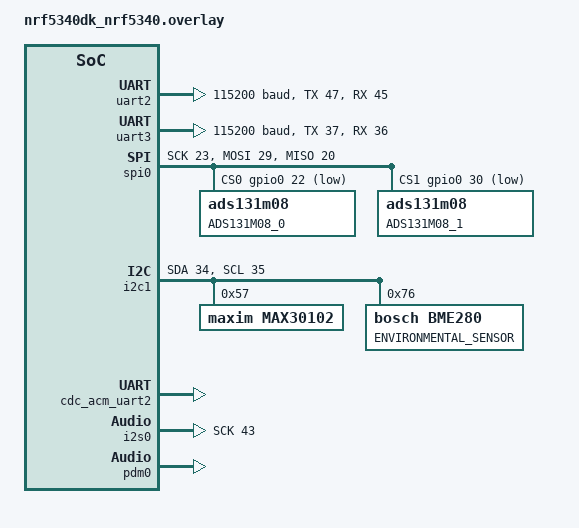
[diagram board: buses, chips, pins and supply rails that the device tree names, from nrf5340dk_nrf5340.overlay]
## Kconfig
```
# SPDX-License-Identifier: Proprietary

mainmenu "Application"

    config NUM_TLCS
        int "Number of chained TLC drivers"
        default 1
        range 1 8

    config UART_RX_TX_BUF_SZ
        int "The size of RP2040 UART RX buffer"
        default 32
        range 1 256

    config UART_RX_TOUT_US
        int "UART RX timeout in milliseconds"
        default 100000

    config USE_ADS131M08
        bool "Include the ADS131M08 sensors in compilation"
        default n

    config USE_BME280
        bool "Include the BME280 sensor in compilation"
        default n
        select USE_USB      

    config USE_MAX30102
        bool "Include the MAX30102 sensor in compilation"
        default n
        select USE_USB

    config USE_MPU6050
        bool "Include the MPU6050 sensor in compilation"
        default n
        select USE_USB 

    config USE_QMC5883L
        bool "Include the QMC5883L sensor in compilation"
        default n  
        select USE_USB

    config USE_TLC5940
        bool "Include the TLC5940 sensor in compilation"
        default n

    config USE_DMIC
        bool "Include the Digital Microphone in compilation"
        default n  

    config USE_I2S
        bool "Include the I2S driver for controlling MAX98357A Class D audio amplifier"
        default n          

    config USE_USB
        bool "Include the USB driver for sending sensor samples over USB"
        default n 

    config USE_RP2040
        bool "Include the UART driver for communication with RP2040"
        default n    

source "Kconfig.zephyr"
```

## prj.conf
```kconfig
CONFIG_INIT_STACKS=y
CONFIG_THREAD_STACK_INFO=y
CONFIG_MAIN_STACK_SIZE=2048
CONFIG_SYSTEM_WORKQUEUE_STACK_SIZE=4096
CONFIG_BT_RX_STACK_SIZE=4096

CONFIG_GPIO=y
CONFIG_SPI=y

# Debug config
CONFIG_LOG=y
CONFIG_LOG_DEFAULT_LEVEL=3
# RTT Viewer
CONFIG_USE_SEGGER_RTT=y
CONFIG_LOG_BACKEND_RTT=y
CONFIG_RTT_CONSOLE=y
CONFIG_SEGGER_RTT_BUFFER_SIZE_UP=4096
#CONFIG_LOG_BACKEND_RTT_MODE_DROP=y
CONFIG_LOG_PRINTK=y

# BLE
CONFIG_BT=y
#CONFIG_BT_DEBUG_LOG=y
CONFIG_BT_PERIPHERAL=y
CONFIG_BT_CENTRAL=y
CONFIG_BT_DEVICE_NAME="BC840M"
CONFIG_BT_GATT_CLIENT=y
CONFIG_BT_HCI_ACL_FLOW_CONTROL=y
CONFIG_BT_USER_PHY_UPDATE=y
CONFIG_BT_CTLR_PHY_2M=y
CONFIG_BT_CTLR_PHY_CODED=n
CONFIG_BT_ATT_PREPARE_COUNT=10
CONFIG_BT_CONN_TX_MAX=10
CONFIG_BT_L2CAP_TX_BUF_COUNT=10
CONFIG_BT_BUF_ACL_TX_SIZE=250
CONFIG_BT_BUF_ACL_RX_SIZE=250
CONFIG_BT_L2CAP_TX_MTU=250

# C++
CONFIG_CPLUSPLUS=y
CONFIG_LIB_CPLUSPLUS=y
CONFIG_NEWLIB_LIBC=y
#if  printf should be able to print float
CONFIG_NEWLIB_LIBC_FLOAT_PRINTF=y

#MAX30102
CONFIG_I2C=y

#BME280
CONFIG_SENSOR=y
CONFIG_BME280=y

#I2S AudioModule
CONFIG_I2S=y

# Digital Microphone (DMIC) Module
CONFIG_AUDIO=y
CONFIG_AUDIO_DMIC=y

# For FFT implementation
CONFIG_CMSIS_DSP=y
CONFIG_CMSIS_DSP_TRANSFORM=y
CONFIG_CMSIS_DSP_COMPLEXMATH=y
CONFIG_NEWLIB_LIBC=y
CONFIG_FPU=y

#USB transfer
# CONFIG_USB_DEVICE_STACK=y
# CONFIG_USB_DEVICE_PRODUCT="Zephyr CDC ACM sample"
# CONFIG_USB_DRIVER_LOG_LEVEL_ERR=y
# CONFIG_USB_DEVICE_LOG_LEVEL_ERR=y
CONFIG_SERIAL=y
# CONFIG_UART_CONSOLE=y
CONFIG_CONSOLE=n
CONFIG_UART_LINE_CTRL=y
CONFIG_UART_ASYNC_API=y
#CONFIG_UART_INTERRUPT_DRIVEN=y

CONFIG_HEAP_MEM_POOL_SIZE=2048

#Enable/Include Sensors. The sensor should be included with setting
# CONFIG_USE_SENSOR_NAME flag to y. For example: CONFIG_USE_BME280=y
# See Kconfig file for the full list of supported sensors
CONFIG_USE_RP2040=y
CONFIG_USE_BME280=n
CONFIG_USE_MPU6050=n
CONFIG_USE_QMC5883L=n

# Needed for FOTA
########################################################
# Enable mcumgr.
CONFIG_MCUMGR=y

# Ensure an MCUboot-compatible binary is generated.
CONFIG_BOOTLOADER_MCUBOOT=y
#CONFIG_NCS_SAMPLE_MCUMGR_BT_OTA_DFU=y

# Enable most core commands.
CONFIG_MCUMGR_CMD_IMG_MGMT=y
CONFIG_MCUMGR_CMD_OS_MGMT=y

# MCUboot log level
CONFIG_MCUBOOT_UTIL_LOG_LEVEL_WRN=y

# Allow for large Bluetooth data packets.
CONFIG_BT_L2CAP_TX_MTU=252
CONFIG_BT_BUF_ACL_RX_SIZE=256

# Enable the Bluetooth (unauthenticated) and shell mcumgr transports.
CONFIG_MCUMGR_SMP_BT=y
CONFIG_MCUMGR_SMP_BT_AUTHEN=n
CONFIG_MCUMGR_SMP_BT_CONN_PARAM_CONTROL=y
########################################################
```

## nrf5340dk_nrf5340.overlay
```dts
// To get started, press Ctrl+Space to bring up the completion menu and view the available nodes.
// For more help, browse the DeviceTree documentation at https: //docs.zephyrproject.org/latest/guides/dts/index.html

/ {

    aliases {
        tlc = &tlc5940;
    };

    tlc5940: tlc5940_node {
        // compatible = "gpio-leds";
        tlc-gpios = <&gpio1 0 GPIO_ACTIVE_HIGH>, /* output pin, GSCLK */
                    <&gpio1 1 GPIO_ACTIVE_HIGH>, /* output pin, XLAT */
                    <&gpio1 4 GPIO_ACTIVE_HIGH>, /* output pin, BLANK */
                    <&gpio1 5 GPIO_ACTIVE_HIGH>, /* output pin, SIN */
                    <&gpio1 6 GPIO_ACTIVE_HIGH>; /* output pin, SCLK */
        status = "okay";
    };
};

&uart0 {
    status = "disabled";
};

&uart1 {
    status = "disabled";
};

&uart2 {
    status = "okay";
    current-speed = <115200>;
    tx-pin = <47>;
    rx-pin = <45>;
    rts-pin = <0xFFFFFFFF>;
    cts-pin = <0xFFFFFFFF>;
};

&uart3 {
    status = "okay";
    compatible = "nordic,nrf-uarte";
    current-speed = <115200>;
    tx-pin = <37>;
    rx-pin = <36>;
    rts-pin = <0xFFFFFFFF>;
    cts-pin = <0xFFFFFFFF>;
};

&spi0 {
    compatible = "nordic,nrf-spim";
    status = "okay";
    sck-pin = <23>;
    mosi-pin = <29>; //DIN
    miso-pin = <20>; //DOUT
    cs-gpios = <&gpio0 22 GPIO_ACTIVE_LOW>, <&gpio0 30 GPIO_ACTIVE_LOW>;

    ads131m08_0: ads131m08@0 {
        status = "okay";
        reg = <0>;
        label = "ADS131M08_0";
    };

    ads131m08_1: ads131m08@1 {
        status = "okay";
        reg = <1>;
        label = "ADS131M08_1";
    };
};

&spi1 {
    status = "disabled";
};

&spi2 {
    status = "disabled";
};

&i2c0 {
    status = "disabled";
};

&i2c1 {
    status = "okay";
    sda-pin = <34>;
    scl-pin = <35>;
    max30102@57 {
        compatible = "maxim,max30102";
        label = "MAX30102";
        reg = <0x57>;
        mode = <2>;
        status = "okay";
    };
    bme280: bme280@76 {
        /* 0x76 - SDO <-> GND */
        /* 0x77 - SDO <-> VCC */
        compatible = "bosch,bme280";
        reg = <0x76>;
        label = "ENVIRONMENTAL_SENSOR";
    };
};

&zephyr_udc0 {
    cdc_acm_uart2 {
        compatible = "zephyr,cdc-acm-uart";
        label = "CDC_ACM_0";
    };
};

&clock {
    hfclkaudio-frequency = <11289600>;
};

i2s_rxtx: &i2s0 {
    status = "okay";
    sck-pin = <43>;
    lrck-pin = <44>;
    sdout-pin = <42>;
    sdin-pin = <46>;
    clock-source = "ACLK";
};

dmic_dev: &pdm0 {
    status = "okay";
    clk-pin = <25>;
    din-pin = <26>;
    clock-source = "ACLK";
};
```

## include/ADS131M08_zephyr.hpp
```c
#pragma once

#include <zephyr/types.h>
#include <device.h>
#include <drivers/gpio.h>
#include <drivers/spi.h>
#include <sys/util.h>
#include <atomic>

#define ADS131_ID 0x00
#define ADS131_STATUS 0x01
#define ADS131_MODE 0x02
#define ADS131_CLOCK 0x03
#define ADS131_GAIN1 0x04
#define ADS131_GAIN2 0x05
#define ADS131_CFG 0x06
#define ADS131_THRSHLD_MSB 0x07
#define ADS131_THRSHLD_LSB 0x08

#define ADS131_CH0_CFG 0x09
#define ADS131_CH0_OCAL_MSB 0x0A
#define ADS131_CH0_OCAL_LSB 0x0B
#define ADS131_CH0_GCAL_MSB 0x0C
#define ADS131_CH0_GCAL_LSB 0x0D
#define ADS131_CH1_CFG 0x0E
#define ADS131_CH1_OCAL_MSB 0x0F
#define ADS131_CH1_OCAL_LSB 0x10
#define ADS131_CH1_GCAL_MSB 0x11
#define ADS131_CH1_GCAL_LSB 0x12
#define ADS131_CH2_CFG 0x13
#define ADS131_CH2_OCAL_MSB 0x14
#define ADS131_CH2_OCAL_LSB 0x15
#define ADS131_CH2_GCAL_MSB 0x16
#define ADS131_CH2_GCAL_LSB 0x17
#define ADS131_CH3_CFG 0x18
#define ADS131_CH3_OCAL_MSB 0x19
#define ADS131_CH3_OCAL_LSB 0x1A
#define ADS131_CH3_GCAL_MSB 0x1B
#define ADS131_CH3_GCAL_LSB 0x1C
#define ADS131_CH4_CFG 0x1D
#define ADS131_CH4_OCAL_MSB 0x1E
#define ADS131_CH4_OCAL_LSB 0x1F
#define ADS131_CH4_GCAL_MSB 0x20
#define ADS131_CH4_GCAL_LSB 0x21
#define ADS131_CH5_CFG 0x22
#define ADS131_CH5_OCAL_MSB 0x23
#define ADS131_CH5_OCAL_LSB 0x24
#define ADS131_CH5_GCAL_MSB 0x25
#define ADS131_CH5_GCAL_LSB 0x26
#define ADS131_CH6_CFG 0x27
#define ADS131_CH6_OCAL_MSB 0x28
#define ADS131_CH6_OCAL_LSB 0x29
#define ADS131_CH6_GCAL_MSB 0x2A
#define ADS131_CH6_GCAL_LSB 0x2B
#define ADS131_CH7_CFG 0x2C
#define ADS131_CH7_OCAL_MSB 0x2D
#define ADS131_CH7_OCAL_LSB 0x2E
#define ADS131_CH7_GCAL_MSB 0x2F
#define ADS131_CH7_GCAL_LSB 0x30


#define ADS131_REGMAP_CRC 0x3E
#define ADS131_RESERVED 0x3F

#define ADS131_READ 0x0A
#define ADS131_WRITE 0x06

class ADS131M08 {
    public:

    //SPIClass * spi = NULL; // SPISettings(spiClk, MSBFIRST, SPI_MODE1)
    int CS, XTAL, DRDY;
    int SpiClk;
    bool firstRead = true;
    uint8_t nWordsInFrame = 10; //< Normal frame contains 10 Words 
    uint8_t nBytesInWord = 3;   //< 24-bit Word by default
    // Dummy word frame to write ADC during ADC data reads
    
    ADS131M08();
    void init(uint8_t cs_pin, uint8_t drdy_pin, uint8_t sync_rst_pin, uint32_t spi_frequency);
    uint16_t readReg(uint8_t reg);
    bool writeReg(uint8_t reg, uint16_t data);
    bool setGain(uint8_t gain);
    void readAllChannels(uint8_t * data_buffer);

#if 0    
    void readChannels(int8_t * channelArrPtr, int8_t channelArrLen, int32_t * outputArrPtr);
    void readAllChannels(int32_t inputArr[8]);
    int32_t readChannelSingle(int8_t channel);
    bool globalChop(bool enabled, uint8_t log2delay);
    bool writeReg(uint8_t reg, uint16_t data);
    uint16_t readReg(uint8_t reg);
    bool setGain(int gain);
    uint32_t spiTransferWord(uint16_t inputData = 0x0000);
    void spiCommFrame(uint32_t * outPtr, uint16_t command = 0x0000);
    int32_t twoCompDeco(uint32_t data);
#endif

private:
    //uint32_t spiTransferWord(uint16_t inputData = 0x0000);
    void spiCommandFrame(uint8_t frame_size, uint8_t *cmdFrame);
    uint16_t spiResponseFrame(uint8_t frame_size);
    void spiDataFrame(uint8_t frame_size, uint8_t *data_buffer);
    
    //void ads131m08_drdy_cb(const struct device *port, struct gpio_callback *cb, gpio_port_pins_t pins);           ///< Callback function to call when data ready 
    std::atomic<int> deviceStatus = 0;  ///< SPI Device status
    const device *spiDevice = nullptr;  ///< Logical SPI device
    const device *gpioDevice = nullptr; ///< Device for GPIOs (DRDY and SYNC/RESET)
    struct gpio_callback callback;      ///< 
    struct spi_cs_control csConfig;     ///< Chip select config
    struct spi_config spiConfig;        ///< SPI transport config
};


#if 0
#ifndef ADS131M08_H
#define ADS131M08_H
//ADS131M08.cpp LGPL 
//Adapted for the 8 channel device from https://github.com/icl-rocketry/ADS131M04-Lib (LGPL)


/* Definitions of all the addresses of the registers of the ADS131M04
   Chip. For the content of the registers, please refer to the datasheet:

   https://www.ti.com/lit/gpn/ads131m04

   Written by Imperial College London Rocketry
   Electronics subteam
*/

#include <zephyr/types.h>
#include <device.h>
#include <drivers/gpio.h>
#include <drivers/spi.h>
#include <sys/util.h>

#define ADS131_ID 0x00
#define ADS131_STATUS 0x01
#define ADS131_MODE 0x02
#define ADS131_CLOCK 0x03
#define ADS131_GAIN1 0x04
#define ADS131_GAIN2 0x05
#define ADS131_CFG 0x06
#define ADS131_THRSHLD_MSB 0x07
#define ADS131_THRSHLD_LSB 0x08

#define ADS131_CH0_CFG 0x09
#define ADS131_CH0_OCAL_MSB 0x0A
#define ADS131_CH0_OCAL_LSB 0x0B
#define ADS131_CH0_GCAL_MSB 0x0C
#define ADS131_CH0_GCAL_LSB 0x0D
#define ADS131_CH1_CFG 0x0E
#define ADS131_CH1_OCAL_MSB 0x0F
#define ADS131_CH1_OCAL_LSB 0x10
#define ADS131_CH1_GCAL_MSB 0x11
#define ADS131_CH1_GCAL_LSB 0x12
#define ADS131_CH2_CFG 0x13
#define ADS131_CH2_OCAL_MSB 0x14
#define ADS131_CH2_OCAL_LSB 0x15
#define ADS131_CH2_GCAL_MSB 0x16
#define ADS131_CH2_GCAL_LSB 0x17
#define ADS131_CH3_CFG 0x18
#define ADS131_CH3_OCAL_MSB 0x19
#define ADS131_CH3_OCAL_LSB 0x1A
#define ADS131_CH3_GCAL_MSB 0x1B
#define ADS131_CH3_GCAL_LSB 0x1C
#define ADS131_CH4_CFG 0x1D
#define ADS131_CH4_OCAL_MSB 0x1E
#define ADS131_CH4_OCAL_LSB 0x1F
#define ADS131_CH4_GCAL_MSB 0x20
#define ADS131_CH4_GCAL_LSB 0x21
#define ADS131_CH5_CFG 0x22
#define ADS131_CH5_OCAL_MSB 0x23
#define ADS131_CH5_OCAL_LSB 0x24
#define ADS131_CH5_GCAL_MSB 0x25
#define ADS131_CH5_GCAL_LSB 0x26
#define ADS131_CH6_CFG 0x27
#define ADS131_CH6_OCAL_MSB 0x28
#define ADS131_CH6_OCAL_LSB 0x29
#define ADS131_CH6_GCAL_MSB 0x2A
#define ADS131_CH6_GCAL_LSB 0x2B
#define ADS131_CH7_CFG 0x2C
#define ADS131_CH7_OCAL_MSB 0x2D
#define ADS131_CH7_OCAL_LSB 0x2E
#define ADS131_CH7_GCAL_MSB 0x2F
#define ADS131_CH7_GCAL_LSB 0x30


#define ADS131_REGMAP_CRC 0x3E
#define ADS131_RESERVED 0x3F

#define ADS131_READ 0x0A
#define ADS131_WRITE 0x06


class ADS131M08 {
    public:

    SPIClass * spi = NULL; // SPISettings(spiClk, MSBFIRST, SPI_MODE1)
    int CS, XTAL, DRDY;
    int SpiClk;
    bool firstRead = true;
    int nFrameWords = 10;
    // Dummy word frame to write ADC during ADC data reads
    
    //arduino
    ADS131M08(int cs=5, int xtal=22, int drdy=21, int clk = 2000000);
    void init(int clkin = 8192000);
    void readChannels(int8_t * channelArrPtr, int8_t channelArrLen, int32_t * outputArrPtr);
    void readAllChannels(int32_t inputArr[8]);
    int32_t readChannelSingle(int8_t channel);
    bool globalChop(bool enabled, uint8_t log2delay);
    bool writeReg(uint8_t reg, uint16_t data);
    uint16_t readReg(uint8_t reg);
    bool setGain(int gain);
    uint32_t spiTransferWord(uint16_t inputData = 0x0000);
    void spiCommFrame(uint32_t * outPtr, uint16_t command = 0x0000);
    int32_t twoCompDeco(uint32_t data);
    
    //zephyr
    struct device *dev;
    struct spi_dt_spec spi;
    struct gpio_dt_spec interrupt;
};

#endif

#endif
```

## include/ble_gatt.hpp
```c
#pragma once

#include <functional>

#include <bluetooth/gatt.h>
#include <sys/atomic.h>

#include "ble_types.hpp"
#include "commandid.hpp"

namespace Bluetooth::Gatt
{

    /**
     * @brief State of the ADS131M08 Notifications.
     */
    extern atomic_t ads131m08NotificationsEnable;

    /**
     * @brief State of the ADS131M08_1 Notifications.
     */
    extern atomic_t ads131m08_1_NotificationsEnable;

    /**
     * @brief State of the MAX30102 Notifications.
     */
    extern atomic_t max30102NotificationsEnable;

    /**
     * @brief State of the MPU6050 Notifications.
     */
    extern atomic_t mpu6050NotificationsEnable;

    /**
     * @brief State of the MPU6050 Notifications.
     */
    extern atomic_t bme280NotificationsEnable;

    /**
     * @brief State of the RSSI Notifications.
     */
    extern atomic_t rssiNotificationsEnable;

    /**
     * @brief State of the Qmc5883l Notifications.
     */
    extern atomic_t qmc5883lNotificationsEnable;

    /**
     * @brief GATT service
     */
    extern const bt_gatt_service_static bt832a_svc;

    /**
     * @brief Index of the Gatt ADS131M08 Data characteristic in service characteristic table
     */
    constexpr static int CharacteristicAds131Data = 4;

    /**
     * @brief Index of the Gatt MAX30102 Data characteristic in service characteristic table
     */
    constexpr static int CharacteristicMax30102Data = 7;

    /**
     * @brief Index of the Gatt MPU6050 Data characteristic in service characteristic table
     */
    constexpr static int CharacteristicMpu6050Data = 10;

    /**
     * @brief Index of the Gatt ADS131M08 Data characteristic in service characteristic table
     */
    constexpr static int CharacteristicAds131_1_Data = 13;

    /**
     * @brief Index of the Gatt ADS131M08 Data characteristic in service characteristic table
     */
    constexpr static int CharacteristicBme280Data = 16;

    /**
     * @brief Index of the Gatt RSSI Data characteristic in service characteristic table
     */
    constexpr static int CharacteristicRssiData = 19;    

    /**
     * @brief Index of the Gatt Qmc5883l Data characteristic in service characteristic table
     */
    constexpr static int CharacteristicQmc5883lData = 22;

    /**
     * @brief Callback called when Bluetooth is initialized. Starts BLE server
     * 
     * @param err bluetooth initialization error code
     */
    void OnBluetoothStarted(int err);

    /**
     * @brief Start scanning for iBeacon devices
     * 
     */
    void StartBeaconScanning(void);

    /**
     * @brief Stop scanning for iBeacon devices
     * 
     */
    void StopBeaconScanning(void);

    /**
     * @brief Register Control callback
     * 
     * @param commandId command ID
     * @param action Action to call when command ith commandId is received via BLE
     */
    void GattSetControlCallback(CommandId commandId, BleControlAction&& action);
}
```

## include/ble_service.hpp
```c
#pragma once

#include <functional>

#include "ble_types.hpp"
#include "commandid.hpp"

namespace Bluetooth
{
    /**
     * @brief Function used to setup BLE Service
     * 
     * @return BLE error code 
     */
    int SetupBLE();

    /**
     * @brief Send BLE notification through ADS131M08 Data Pipe.
     * 
     * @param data pointer to datasource containing ADS131M08 data samples
     * @param len  the number of samples to transfer
     */
    void Ads131m08Notify(const uint8_t* data, const uint8_t len);

    /**
     * @brief Send BLE notification through ADS131M08_1 Data Pipe.
     * 
     * @param data pointer to datasource containing ADS131M08 data samples
     * @param len  the number of samples to transfer
     */
    void Ads131m08_1_Notify(const uint8_t* data, const uint8_t len);

    /**
     * @brief Send BLE notification through MAX30102 Data Pipe.
     * 
     * @param data pointer to datasource containing MAX30102 data samples
     * @param len  the number of samples to transfer
     */
    void Max30102Notify(const uint8_t* data, const uint8_t len);

    /**
     * @brief Send BLE notification through MPU6050 Data Pipe.
     * 
     * @param data pointer to datasource containing MPU6050 data samples
     * @param len  the number of samples to transfer
     */
    void Mpu6050Notify(const uint8_t* data, const uint8_t len);

    /**
     * @brief Send BLE notification through QMC5883L Data Pipe.
     * 
     * @param data pointer to datasource containing QMC5883L data samples
     * @param len  the number of samples to transfer
     */
    void Qmc5883lNotify(const uint8_t* data, const uint8_t len);

    /**
     * @brief Send BLE notification through BME280 Data Pipe.
     * 
     * @param data pointer to datasource containing BME280 data samples
     * @param len  the number of samples to transfer
     */
    void Bme280Notify(const uint8_t* data, const uint8_t len);

    /**
     * @brief Start taking signal strength (RSSI) values
     * @param rssi pointer to signal strength value
     */
    void read_conn_rssi(int8_t *rssi);

    /**
     * @brief Start taking signal strength (RSSI) values
     */
    void RssiStartSampling();
    
    /**
     * @brief Stop taking signal strength (RSSI) values
     */
    void RssiStopSampling();

    /**
     * @brief Called when trigger mode is received via BLE
     * 
     * @param buffer receviced buffer
     * @param length buffer length
     * @param offset data offset
     * 
     * @return true if command was processed succesfully
     */
    bool OnBleCommand(const uint8_t* buffer, CommandKey key, BleLength length, BleOffset offset);

    /**
     * @brief Register Control callback
     * 
     * @param commandId command ID
     * @param action Action to call when command ith commandId is received via BLE
     */
    void GattRegisterControlCallback(CommandId commandId, BleControlAction&& action);

}
```

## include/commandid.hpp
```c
#pragma once

#include <stddef.h>

/**
 * @brief Ids for commands sent via ble Gatt control characteristic
 */
enum class CommandId : uint8_t
{
    Ads131m08Cmd = 1,
    Bme280Cmd = 2,
    Max30102Cmd = 3,
    Mpu6050Cmd = 4,
    Qmc5883lCmd = 5,
    AlarmCmd = 6,  ///< Start/Stop playing Alarm
    DmicCmd = 7,   ///< Commands for Digital Microphone (DMIC)
    Tlc5940Cmd = 8, /// < COmmand for Tlc5940 16-channel PWM LED driver 
    BleCmd = 9,    ///< Command for start/stop looking for iBeacon devices
    SystemCmd = 10, ///< For sending commands on the app/system level from where we can control every sensor/module
};
```

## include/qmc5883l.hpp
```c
#pragma once

#include <zephyr/types.h>
#include <device.h>
#include <drivers/gpio.h>
//#include <drivers/i2c.h>
#include <sys/util.h>
#include <atomic>
#include "i2c_transport.hpp"
#include "device_string.hpp"
#include "ble_types.hpp"

class UsbCommHandler;

#define QMC5883L_ADDRESS            0x0D

// Internal I2C register list
#define QMC5883L_X_LSB              0x00
#define QMC5883L_X_MSB              0x01
#define QMC5883L_Y_LSB              0x02
#define QMC5883L_Y_MSB              0x03
#define QMC5883L_Z_LSB              0x04
#define QMC5883L_Z_MSB              0x05
#define QMC5883L_STATUS_REG         0x06
#define QMC5883L_TOUT_LSB           0x07
#define QMC5883L_TOUT_MSB           0x08
#define QMC5883L_CTRL_REG_1         0x09
#define QMC5883L_CTRL_REG_2         0x0A
#define QMC5883L_SET_RESET_PERIOD   0x0B
#define QMC5883L_WHO_AM_I           0x0D

#define QMC5883L_DRDY_BIT           0
#define QMC5883L_OVL_BIT            1
#define QMC5883L_DOR_BIT            2

#define QMC5883L_SOFT_RST_BIT       7

#define QMC5833L_MODE_MASK          (3 << 0)
#define QMC5833L_ODR_MASK           (3 << 2)
#define QMC5833L_RNG_MASK           (3 << 4)
#define QMC5833L_OSR_MASK           (3 << 6)

// Mode
#define QMC5833L_MODE_STANDBY       (0x00)
#define QMC5833L_MODE_CONTINUOUS    (0x01)
// Output Data Rate (ODR)
#define QMC5833L_ODR_10Hz           (0x00)
#define QMC5833L_ODR_50Hz           (0x01)
#define QMC5833L_ODR_100Hz          (0x02)
#define QMC5833L_ODR_200Hz          (0x03)
// Full scale (FS)
#define QMC5833L_FS_2G              (0x00)
#define QMC5833L_FS_8G              (0x01)
// Over Sample Ratio (OSR)
#define QMC5833L_OSR_512            (0x00)
#define QMC5833L_OSR_256            (0x01)
#define QMC5833L_OSR_128            (0x02)
#define QMC5833L_OSR_64             (0x03)

struct qmc5883l_config {
    uint8_t ctrl_reg_1;
    uint8_t ctrl_reg_2;
};

/**
 * @brief BLE commands for the QMC5883l module
 */
enum class BleCommand : uint8_t
{
    StartSampling = 0x01,       ///< Start taking samples from the sensor
    StopSampling = 0x02,       ///< Stop taking samples from the sensor
};

/**
 * @brief Qmc5883l driver
 */
class Qmc5883l {

    using I2C_1DeviceName = DeviceString<'I', '2', 'C', '_', '1'>;
    constexpr static uint8_t qmc5883l_id = 0xFF; // Part ID
    uint8_t tx_buf[250] = {};

public:
    /**
     * @brief Construct a new Qmc5883l object
     */
    Qmc5883l(UsbCommHandler &controller);

    /**
     * @brief Initialization function. Used to perform actual initialization. Because of software stack initialization
     * could not be done in constructor
     * @return Status, 0 for no errors
     */
    int Initialize();

    /**
     * @brief Configure Qmc5883l device
     *
     * @param config Configuration details
     * @return Status, 0 for no errors
     */
    int Configure(qmc5883l_config config);

    /**
     * @brief Start taking Accel and Gyro samples
     */
    void StartSampling();

    /**
     * @brief Stop taking Accel and Gyro samples
     */
    void StopSampling();

    /**
     * @brief Get Qmc5883l Die Temperature.
     */
    void GetDieTemperature();

    /**
     * @brief Handle Qmc5883l Interrupt. Figure out interrupt reason and take the appropriate action
     */
    void HandleInterrupt();

    /**
     * @brief Check if Qmc5883l device is connected to I2C bus
     */
    bool IsOnI2cBus();

private:
    /**
     * @brief Reset Qmc5883l device
     */
    void Reset();

    /**
     * @brief Shutdown Qmc5883l device
     */
    void Shutdown();

    /**
     * @brief Wakeup Qmc5883l device
     */
    void Wakeup();

    /**
     * @brief Read Temperature Registers
     */
    void TemperatureRead();

    /**
     * @brief Called when trigger mode is received via BLE
     * 
     * @param buffer receviced buffer
     * @param length buffer length
     * @param offset data offset
     * 
     * @return true if command was processed succesfully
     */
    bool OnBleCommand(const uint8_t* buffer, Bluetooth::CommandKey key, Bluetooth::BleLength length, Bluetooth::BleOffset offset);


    uint8_t sample_cnt;
    uint8_t packet_cnt;
    std::atomic<bool> qmc5883l_is_on_i2c_bus_; ///< Device status
    I2CTransport<I2C_1DeviceName, QMC5883L_ADDRESS> transport; ///< I2C transport for device
    UsbCommHandler &serialHandler; ///< USB communication controller

};
```

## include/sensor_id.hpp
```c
#pragma once

#include <stddef.h>

/**
 * @brief Ids for commands sent via ble Gatt control characteristic
 */
enum class SensorId : uint8_t
{
    Ads131m08_0     = 2,
    Ads131m08_1     = 3,
    Mpu6050         = 4,
    Max30102        = 5,
    Bme280          = 6,        
};
```

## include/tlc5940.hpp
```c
#pragma once

#include <zephyr/types.h>
#include <device.h>
#include <drivers/gpio.h>
#include <sys/util.h>
#include <atomic>
#include "ble_types.hpp"
#include "ble_commands.hpp"
              
struct tlc5940_config {
    struct gpio_dt_spec gsclk_gpio; /**< Reference clock for grayscale PWM control */
    struct gpio_dt_spec xlat_gpio; /**< Level triggered latch signal */
    struct gpio_dt_spec blank_gpio; /**< Blank all outputs */
    struct gpio_dt_spec sin_gpio; /**< Serial data input */
    struct gpio_dt_spec sclk_gpio; /**< Serial data shift clock */
};

enum pins: uint8_t {
    GSCLK_PIN = 0,
    XLAT_PIN,
    BLANK_PIN,
    SIN_PIN,
    SCLK_PIN
};

enum pulse_dir: uint8_t {
    LOW_TO_HIGH = 0,
    HIGH_TO_LOW
};

/**
 * @brief Tlc5940 driver
 */
class Tlc5940 {

public:
    /**
     * @brief Construct a new Tlc5940 object
     */
    Tlc5940();

    /**
     * @brief Initialization function. Used to perform actual initialization. Because of software stack initialization
     * could not be done in constructor
     * 
     * @param num_tlcs Number of daisy-chained TLC5940 devices
     * @return Status, 0 for no errors
     */
    int Initialize(uint8_t num_tlcs);

    /**
     * @brief Sets the grayscale data for channel
     * @note Tlc5940.Update function needs to be called after Set
     * 
     * @param channel Tlc5940 channel ID. 0 - (NUM_TLCS * 16 - 1)
     *                OUT0 of the first TLC is channel 0, OUT0 of the next TLC is channel 16, etc.
     * @param value Grayscale value to set. 0 - 4095.
     * @return 0 if success, negative value otherwise
     */
    int Set(uint8_t channel, uint16_t value);

    /**
     * @brief Set all channels to specified grayscale value
     * @note Tlc5940.Update function needs to be called after SetAll
     * 
     * @param value Grayscale value to set. 0 - 4095.
     */
    void SetAll(uint16_t value);

    /**
     * @brief Clears the GrenScale data array
     * 
     * @note Tlc5940.Update function needs to be called after Clear
     */
    void Clear();

    /**
     * @brief Get the current GrayScale value for a channel
     * 
     * @param channel Tlc5940 channel ID. 0 - (NUM_TLCS * 16 - 1)
     *                OUT0 of the first TLC is channel 0, OUT0 of the next TLC is channel 16, etc.
     * @return current GrayScale value for specified channel. 0 - 4095.
     */
    uint16_t Get(uint8_t channel);

    /**
     * @brief Shifts in the data from the GrayScale data array into TLC5940
     * @note If data has already been shifted in this GrayScale cycle, another call to Update() will immediatelly return -1
     *       without shifting in the new data. To ensure that a call to Update() does shift in ne data, use 
     *       while(Tlc5940.Update())
     * 
     * @return 0 if data was successfully shifted, -1 if there is data waiting to be latched
     */
    int Update();

private:

    int InitializeGpios(void);
    int SetPin(uint8_t pin, uint8_t state);
    int PulsePin(uint8_t pin, uint8_t pulse_dir);

    /**
     * @brief Called when trigger mode is received via BLE
     * 
     * @param buffer receviced buffer
     * @param length buffer length
     * @param offset data offset
     * 
     * @return true if command was processed succesfully
     */
    bool OnBleCommand(const uint8_t* buffer, Bluetooth::CommandKey key, Bluetooth::BleLength length, Bluetooth::BleOffset offset);

    struct tlc5940_config tlc_cfg;
    uint8_t num_tlcs; //< Number of daisy-chained TLC5940 devices
    uint8_t *p_gsData;
    uint16_t gsDataSize;
    uint16_t numChannels;

    const struct device *gpio0;
};
```

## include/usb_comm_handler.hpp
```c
#pragma once

#include <array>
#include <atomic>
#include <functional>

#include "ble_service.hpp"
#include "serial_controller.hpp"

#include "sensor_id.hpp"

/**
 * @brief USB/UART transport. Used to pass sensor readings through USB link
 */
class UsbCommHandler
{
    /**
     * @brief Maximum number of commands/packets could be send to PC simultaneously.
     */
    constexpr static size_t maxCommands = 20;

public:
    /**
     * @brief Construct a new Uart Commands Transport object.
     * 
     * @param serial Serial port controller.
     */
    UsbCommHandler(SerialController &serial);

    /**
     * @brief Initialization function. Used to perform actual initialization. Because of software stack initialization
     * could not be done in constructor
     */
    void Initialize();

    /**
     * @brief API function for sending Acceleromter Data over USB. Prepares command that contains samples from the Accelerometer sensor
     * 
     * @param buffer buffer with message data. Data should be copied before use
     * @param length current data chunk length.
     */
    void SendAccelSamples(const uint8_t *buffer, size_t length);

    /**
     * @brief API function for sending Magnetometer Data over USB. Prepares command that contains samples from the Accelerometer sensor
     * 
     * @param buffer buffer with message data. Data should be copied before use
     * @param length current data chunk length.
     */
    void SendMagnetometerSamples(const uint8_t *buffer, size_t length);

    /**
     * @brief API function for sending MAX30102 Data over USB. Prepares command that contains samples from the MAX30102 sensor
     * 
     * @param buffer buffer with message data. Data should be copied before use
     * @param length current data chunk length.
     */    
    void SendMax30102Samples(const uint8_t *buffer, size_t length);    
    
    /**
     * @brief API function for sending ADS131M08 Data over USB. Prepares command that contains samples from the ADS131M08 sensor
     * 
     * @param buffer buffer with message data. Data should be copied before use
     * @param length current data chunk length.
     * @param sensor_id ID of the ADS131M08 sensor. We currently have two ADS131M08 sensors attached to I2C bus
     */    
    void SendAds131m08Samples(const uint8_t *buffer, size_t length, uint8_t sensor_id);

    /**
     * @brief API function for sending BME280 Data over USB. Prepares command that contains samples from the BME280 sensor
     * 
     * @param buffer buffer with message data. Data should be copied before use
     * @param length current data chunk length.
     */    
    void SendBme280Samples(const uint8_t *buffer, size_t length); 

private:
    /**
     * @brief Callback called by serial controller when command is completed. Releases acuired command resources.
     * @warning Callback is executed in system working thread callback
     * 
     * @param work worker
     */
    static void CommandCompletedCallback(k_work *work);

    /**
     * @brief Creates and initializes Serial Transfer object used to send command to stm8
     * 
     * @param messageId         message id
     * @param req               request buffer 
     * @param reqLen            request buffer length. Set this field to 0 if request contains no data
     * @param respMaxLen        maximum reponse buffer length. Set this field to 0 if no responce from stm8 is expected
     * @return SerialTransfer*  constructed transfer, or nullptr if transfer creation was unsuccessful 
     */
    SerialTransfer *CreateTransferFrom(SensorId messageId, const uint8_t *req, size_t reqLen, size_t respMaxLen);

    /**
     * @brief Queues transfer to UART, and if autoReleaseOnError is set and any error occurs releases transfer and its
     *        allocated buffers
     * 
     * @param transfer            tranfer to send
     * @param autoReleaseOnError  set to true if transfer should be autoreleased on error
     * @return true               if message was sent successfully, false otherwise
     */
    bool QueueTransfer(SerialTransfer *transfer, bool autoReleaseOnError = false);

    /**
     * @brief Allocates serial transfer to execute command
     * 
     * @return SerialTransfer* serial transfers buffer.
     */
    SerialTransfer *Allocate();

    /**
     * @brief Release serial transfer after command execution is complete
     * 
     * @param transfer transfer to release
     */
    void Release(SerialTransfer *transfer);

    SerialController &serial; ///< Serial controller used to send commands to stm8

    SerialPacket sendPackets[maxCommands];       ///< Serial transfer send buffers
    SerialPacket recvPackets[maxCommands];       ///< Serial transfer receive buffers
    SerialTransfer transfersBuffer[maxCommands]; ///< Serial transfer commands buffers

    constexpr static size_t capacity = 32;            ///< SPSC circular buffer size
    std::array<SerialTransfer *, capacity> transfers; ///< SPSC circular buffer
    std::atomic<int> headIndex;                       ///< SPSC head circular buffer index
    std::atomic<int> tailIndex;                       ///< SPSC tail circular buffer index
};
```

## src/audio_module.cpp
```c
#include <logging/log.h>
#include <sys/printk.h>

#include "audio_module.hpp"
#include "ble_service.hpp"
#include "usb_comm_handler.hpp"
// For registering callback
#include "ble_service.hpp"

/** Register log module */
LOG_MODULE_REGISTER(i2s, LOG_LEVEL_INF);

/* Define a new Memory Slab which consistes of NUM_BLOCKS blocks
   __________________________________________________________________________
  |    Block 0   |    Block 1   |    Block 2   |    Block 3   |    Block 4   |
  |    0...31    |    0...31    |    0...31    |    0...31    |    0...31    |
  |______________|______________|______________|______________|______________|
*/
static K_MEM_SLAB_DEFINE(mem_slab, BLOCK_SIZE, NUM_BLOCKS, NUM_SAMPLES);

AudioModule::AudioModule() {
    LOG_DBG("AudioModule Constructor!");
}

int AudioModule::Initialize() {

    LOG_DBG("Starting AudioModule Initialization...");

    i2s_dev = DEVICE_DT_GET(DT_NODELABEL(i2s_rxtx));
    if (!device_is_ready(i2s_dev)) {
        LOG_ERR("%s is not ready\n", i2s_dev->name);
        return -1;
    } else {
        LOG_INF("i2s_dev ready!");
    }

    struct i2s_config i2s_cfg;
    i2s_cfg.word_size = 16; // due to int16_t in data_frame declaration
    i2s_cfg.channels = 2; // L + R channel
    i2s_cfg.format = I2S_FMT_DATA_FORMAT_I2S;
    i2s_cfg.options = I2S_OPT_BIT_CLK_MASTER | I2S_OPT_FRAME_CLK_MASTER;
    i2s_cfg.frame_clk_freq = 44100;
    i2s_cfg.mem_slab = &mem_slab;
    i2s_cfg.block_size = BLOCK_SIZE;
    i2s_cfg.timeout = 1000;
    
    int ret = i2s_configure(i2s_dev, I2S_DIR_TX, &i2s_cfg);
    if (ret < 0) {
        LOG_ERR("Failed to configure the I2S stream: (%d)\n", ret);
        return ret;
    } else {
        LOG_INF("i2s_configured successfully!");
    }

    ret = k_mem_slab_alloc(&mem_slab, &mem_blocks, K_NO_WAIT);
    if (ret < 0) {
        LOG_ERR("Failed to allocate the memory blocks: %d\n", ret);
        return ret;
    } else {
        LOG_INF("slab allocated successfully!");
    }

    memset((uint16_t*)mem_blocks, 0, (NUM_SAMPLES * NUM_BLOCKS));

    Bluetooth::GattRegisterControlCallback(CommandId::AlarmCmd,
        [this](const uint8_t *buffer, Bluetooth::CommandKey key, Bluetooth::BleLength length, Bluetooth::BleOffset offset)
        {
            return OnBleCommand(buffer, key, length, offset);
        });

    // Start working thread
    k_thread_create(&worker, pollStackAreaAudio, K_THREAD_STACK_SIZEOF(pollStackAreaAudio),
                    &WorkingThreadAudio, this, nullptr, nullptr, taskPriorityAudio, 0, K_NO_WAIT);
    k_thread_suspend(&worker);

    return ret;    
}

bool AudioModule::OnBleCommand(const uint8_t *buffer, Bluetooth::CommandKey key, Bluetooth::BleLength length, Bluetooth::BleOffset offset){
    if (offset.value != 0 || length.value == 0)
    {
        return false;
    }
    LOG_DBG("AudioModule BLE Command received");

    Bluetooth::CommandKey bleCommand;
    memcpy(&bleCommand, &key, sizeof(key));

    switch(bleCommand.key[0]){
        case static_cast<uint8_t>(BleCommand::StartSampling):
            StartSampling();
            break;
        case static_cast<uint8_t>(BleCommand::StopSampling):
            StopSampling();
            break;

        default:
            break;
    }

    return true;
}

int AudioModule::StartSampling(){
    /* Start the transmission of data */
	int ret = i2s_trigger(i2s_dev, I2S_DIR_TX, I2S_TRIGGER_START);
	if (ret < 0) {
		LOG_ERR("Failed to start the transmission: %d", ret);
	} else {
        LOG_INF("Resuming thread...");
        k_thread_resume(&worker);
    }
    return ret;
}

int AudioModule::StopSampling(){
	/* Start the transmission of data */
	int ret = i2s_trigger(i2s_dev, I2S_DIR_TX, I2S_TRIGGER_DRAIN);
	if (ret < 0) {
		LOG_ERR("Failed to stop the transmission: %d", ret);
	} else {
        LOG_INF("Suspending thread...");
        k_thread_suspend(&worker);
    }
    return ret;
}

    /**
     * @brief Main working thread. Used to perform I2S transport.
     * It required a separate stack to not break main BLE stack state machine
     *
     * @param data pointer to this
     */
    void AudioModule::WorkingThreadAudio(void *data, void *, void *){
        AudioModule *self = static_cast<AudioModule *>(data);
        int ret = 0;
        uint32_t idx;
        uint32_t j = 0;

        for (;;)
        {
            /* Put data into the tx buffer */
            for (int i = 0; i < NUM_SAMPLES * NUM_BLOCKS; i++) {
                idx = 2 * (NUM_BLOCKS * NUM_SAMPLES) * j + 2*i;
                ((uint16_t*)self->mem_blocks)[i] = ((self->rawAudioData[idx+1]) << 8) | self->rawAudioData[idx];
                if (j >= self->J_LIMIT){
                    ((uint16_t*)self->mem_blocks)[i] = 0;
                }
            }

            j++;
            if (j >= 2*self->J_LIMIT){
                j = 0;
            }
            /* Write Data */
            ret = i2s_buf_write(self->i2s_dev, self->mem_blocks, BLOCK_SIZE);
            if (ret < 0) {
                LOG_ERR("Error: i2s_write failed with %d", ret);
            }
        }

    }
```
